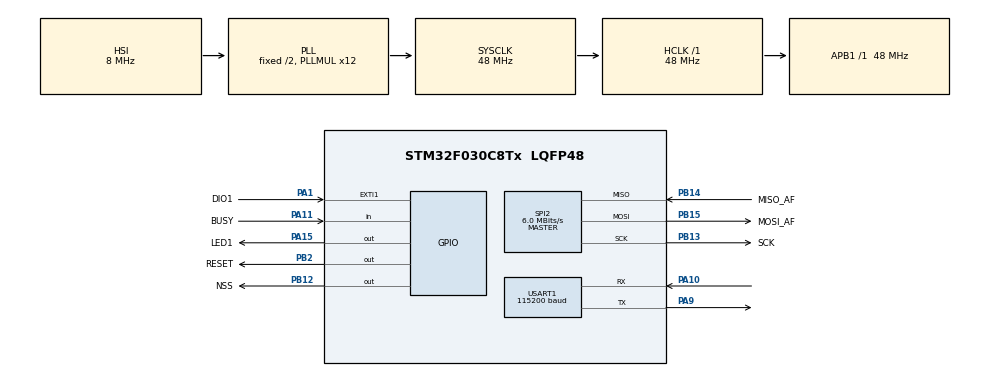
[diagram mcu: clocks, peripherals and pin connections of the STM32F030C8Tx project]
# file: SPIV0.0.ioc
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Mcu.Family=STM32F0
Mcu.Name=STM32F030C8Tx
Mcu.Package=LQFP48
NVIC.EXTI0_1_IRQn=true\:0\:0\:false\:false\:true\:true\:true
NVIC.TIM6_IRQn=true\:1\:0\:true\:false\:true\:true\:true
NVIC.USART1_IRQn=true\:0\:0\:false\:false\:true\:true\:true
PA1.GPIO_Label=DIO1
PA1.GPIO_ModeDefaultEXTI=GPIO_MODE_IT_RISING
PA1.GPIO_PuPd=GPIO_PULLUP
PA1.Signal=GPXTI1
PA10.GPIO_PuPd=GPIO_NOPULL
PA10.Mode=Asynchronous
PA10.Signal=USART1_RX
PA11.GPIO_Label=BUSY
PA11.GPIO_PuPd=GPIO_PULLUP
PA11.Signal=GPIO_Input
PA13.Mode=Serial_Wire
PA13.Signal=SYS_SWDIO
PA14.Mode=Serial_Wire
PA14.Signal=SYS_SWCLK
PA15.GPIO_Label=LED1
PA15.GPIO_Speed=GPIO_SPEED_FREQ_MEDIUM
PA15.PinState=GPIO_PIN_SET
PA15.Signal=GPIO_Output
PA9.GPIO_PuPd=GPIO_NOPULL
PA9.Mode=Asynchronous
PA9.Signal=USART1_TX
PB12.GPIO_Label=NSS
PB12.GPIO_ModeDefaultOutputPP=GPIO_MODE_OUTPUT_PP
PB12.GPIO_PuPd=GPIO_PULLUP
PB12.GPIO_Speed=GPIO_SPEED_FREQ_MEDIUM
PB12.PinState=GPIO_PIN_SET
PB12.Signal=GPIO_Output
PB13.GPIO_Label=SCK
PB13.GPIO_PuPd=GPIO_PULLUP
PB13.GPIO_Speed=GPIO_SPEED_FREQ_MEDIUM
PB13.Mode=Full_Duplex_Master
PB13.Signal=SPI2_SCK
PB14.GPIO_Label=MISO_AF
PB14.GPIO_PuPd=GPIO_PULLUP
PB14.GPIO_Speed=GPIO_SPEED_FREQ_MEDIUM
PB14.Mode=Full_Duplex_Master
PB14.Signal=SPI2_MISO
PB15.GPIO_Label=MOSI_AF
PB15.GPIO_PuPd=GPIO_PULLUP
PB15.GPIO_Speed=GPIO_SPEED_FREQ_MEDIUM
PB15.Mode=Full_Duplex_Master
PB15.Signal=SPI2_MOSI
PB2.GPIO_Label=RESET
PB2.GPIO_PuPd=GPIO_PULLUP
PB2.GPIO_Speed=GPIO_SPEED_FREQ_MEDIUM
PB2.PinState=GPIO_PIN_SET
PB2.Signal=GPIO_Output
ProjectManager.HeapSize=0x200
ProjectManager.StackSize=0x400
ProjectManager.TargetToolchain=EWARM V8
RCC.AHBFreq_Value=48000000
RCC.APB1Freq_Value=48000000
RCC.APB1TimFreq_Value=48000000
RCC.HCLKFreq_Value=48000000
RCC.PLLMUL=RCC_PLL_MUL12
RCC.SYSCLKFreq_VALUE=48000000
RCC.SYSCLKSource=RCC_SYSCLKSOURCE_PLLCLK
SPI2.BaudRatePrescaler=SPI_BAUDRATEPRESCALER_8
SPI2.CRCCalculation=SPI_CRCCALCULATION_ENABLE
SPI2.CRCLength=SPI_CRC_LENGTH_8BIT
SPI2.CalculateBaudRate=6.0 MBits/s
SPI2.DataSize=SPI_DATASIZE_8BIT
SPI2.Direction=SPI_DIRECTION_2LINES
SPI2.Mode=SPI_MODE_MASTER
SPI2.VirtualType=VM_MASTER
TIM6.AutoReloadPreload=TIM_AUTORELOAD_PRELOAD_DISABLE
TIM6.Period=1000
TIM6.Prescaler=240
USART1.BaudRate=115200
USART1.VirtualMode-Asynchronous=VM_ASYNC
VP_TIM6_VS_ClockSourceINT.Mode=Enable_Timer
board=custom

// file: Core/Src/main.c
/* USER CODE BEGIN Header */
/**
  ******************************************************************************
  * @file           : main.c
  * @brief          : Main program body
  ******************************************************************************
  * @attention
  *
  * <h2><center>&copy; Copyright (c) 2022 STMicroelectronics.
  * All rights reserved.</center></h2>
  *
  * This software component is licensed by ST under BSD 3-Clause license,
  * the "License"; You may not use this file except in compliance with the
  * License. You may obtain a copy of the License at:
  *                        opensource.org/licenses/BSD-3-Clause
  *
  ******************************************************************************
  */
/* USER CODE END Header */
#include "main.h"
#include "spi.h"
#include "tim.h"
#include "usart.h"
#include "gpio.h"

/* USER CODE BEGIN PD */
#define BUFFER_SIZE 8
#define RF_BL_ADV_CHANNEL_38                        2478000000 // Hz
#define RF_FREQUENCY                                RF_BL_ADV_CHANNEL_38 // Hz
#define TX_OUTPUT_POWER                             13
#define TX_TIMEOUT_VALUE                            1000 // ms

/* USER CODE END PD */

/* USER CODE BEGIN PM */
bool isMaster = false;//true 为发送 false 为接受
/* USER CODE END PM */

void SystemClock_Config(void);
/* USER CODE BEGIN PFP */
void OnTxDone( void );
void OnRxDone( void );
void OnTxTimeout( void );
void OnRxTimeout( void );
void OnRxError( IrqErrorCode_t );
/* USER CODE END PFP */

/* USER CODE BEGIN 0 */

RadioCallbacks_t Callbacks =
{
    &OnTxDone,        // txDone
    &OnRxDone,        // rxDone
    NULL,             // syncWordDone
    NULL,             // headerDone
    &OnTxTimeout,     // txTimeout
    &OnRxTimeout,     // rxTimeout
    &OnRxError,       // rxError
    NULL,             // rangingDone
    NULL,             // cadDone
};

uint8_t BufferSize = BUFFER_SIZE;

uint8_t Buffer[BUFFER_SIZE];
int8_t rssi=0;
uint8_t Tx_Msg[4],Rx_Msg[4];
uint16_t RxIrqMask = IRQ_RX_DONE | IRQ_RX_TX_TIMEOUT | IRQ_CRC_ERROR;
uint16_t TxIrqMask = IRQ_TX_DONE | IRQ_RX_TX_TIMEOUT | IRQ_CRC_ERROR;
AppStates_t AppState = APP_LOWPOWER;
PacketStatus_t packetStatus;

pkt_t pkt;
uint8_t mode=0;// 0 lora 1 GFSK 2 FLRC

/* USER CODE END 0 */

int main(void)
{

  /* MCU Configuration--------------------------------------------------------*/

  /* Reset of all peripherals, Initializes the Flash interface and the Systick. */
  HAL_Init();

  /* Configure the system clock */
  SystemClock_Config();

  /* Initialize all configured peripherals */

  MX_GPIO_Init();
  MX_SPI2_Init();
  MX_USART1_UART_Init();
  MX_TIM6_Init();

  /* USER CODE BEGIN 2 */
   Radio.Init( &Callbacks );
   Radio.SetRegulatorMode( USE_DCDC ); // Can also be set in LDO mode but consume more power
   memset( &Buffer, 0x00, BufferSize );
   FLRC_SetParams();
//   GFSK_SetParams();
//   LORA_SetParams();
   SX1280_Init();
  /* USER CODE END 2 */

  /* Infinite loop */

    if(isMaster==true)//send  mode
    {
      pkt.seq=0;
      Radio.SetDioIrqParams( TxIrqMask, TxIrqMask, IRQ_RADIO_NONE, IRQ_RADIO_NONE );
      Radio.SendPayload( (uint8_t*)&pkt, sizeof(pkt), ( TickTime_t ){ RX_TIMEOUT_TICK_SIZE, TX_TIMEOUT_VALUE } );
      AppState=APP_LOWPOWER;
      while(1)
      {
        SX1280ProcessIrqs( );

        switch( AppState )
        {
        case APP_TX:
          AppState=APP_LOWPOWER;
          pkt.addr=0x01;
          pkt.seq ++;
          Radio.SetDioIrqParams( TxIrqMask, TxIrqMask, IRQ_RADIO_NONE, IRQ_RADIO_NONE );
          Radio.SendPayload( (uint8_t*)&pkt, sizeof(pkt), ( TickTime_t ){ RX_TIMEOUT_TICK_SIZE, TX_TIMEOUT_VALUE } );
          HAL_GPIO_TogglePin(LED1_GPIO_Port,LED1_Pin);
          HAL_Delay(20);
          break;
        default:
          break;
        }

      }

    }
    else if(isMaster==false)//receive  mode
    {

      AppState=APP_LOWPOWER;
      Radio.SetDioIrqParams( RxIrqMask, RxIrqMask, IRQ_RADIO_NONE, IRQ_RADIO_NONE );
      Radio.SetRx( ( TickTime_t ) { RX_TIMEOUT_TICK_SIZE, RX_TIMEOUT_VALUE } );
      printf("start\n");
      while(1)
      {
        SX1280ProcessIrqs( );

        switch( AppState )
        {
        case APP_RX:
          AppState = APP_LOWPOWER;
          Radio.GetPayload( Buffer, &BufferSize, BUFFER_SIZE );//接收的数据装载到buffer
          SX1280GetPacketStatus(&packetStatus);
          rssi = SX1280GetRssiInst();
          printf("%d--Rssi:%d\n", Buffer[1],rssi);

          Radio.SetDioIrqParams( RxIrqMask, RxIrqMask, IRQ_RADIO_NONE, IRQ_RADIO_NONE );
          Radio.SetRx( ( TickTime_t ) { RX_TIMEOUT_TICK_SIZE, RX_TIMEOUT_VALUE } );
          HAL_GPIO_TogglePin(LED1_GPIO_Port,LED1_Pin);
          break;
        case APP_RX_TIMEOUT:
        case APP_RX_ERROR:
          Radio.SetDioIrqParams( RxIrqMask, RxIrqMask, IRQ_RADIO_NONE, IRQ_RADIO_NONE );
          Radio.SetRx( ( TickTime_t ) { RX_TIMEOUT_TICK_SIZE, RX_TIMEOUT_VALUE } );
          break;
        default:
          break;
        }
      }

    }

}

void SystemClock_Config(void)
{
  RCC_OscInitTypeDef RCC_OscInitStruct = {0};
  RCC_ClkInitTypeDef RCC_ClkInitStruct = {0};
  RCC_PeriphCLKInitTypeDef PeriphClkInit = {0};

  /** Initializes the RCC Oscillators according to the specified parameters
  * in the RCC_OscInitTypeDef structure.
  */
  RCC_OscInitStruct.OscillatorType = RCC_OSCILLATORTYPE_HSI;
  RCC_OscInitStruct.HSIState = RCC_HSI_ON;
  RCC_OscInitStruct.HSICalibrationValue = RCC_HSICALIBRATION_DEFAULT;
  RCC_OscInitStruct.PLL.PLLState = RCC_PLL_ON;
  RCC_OscInitStruct.PLL.PLLSource = RCC_PLLSOURCE_HSI;
  RCC_OscInitStruct.PLL.PLLMUL = RCC_PLL_MUL12;
  RCC_OscInitStruct.PLL.PREDIV = RCC_PREDIV_DIV1;
  if (HAL_RCC_OscConfig(&RCC_OscInitStruct) != HAL_OK)
  {
    Error_Handler();
  }
  /** Initializes the CPU, AHB and APB buses clocks
  */
  RCC_ClkInitStruct.ClockType = RCC_CLOCKTYPE_HCLK|RCC_CLOCKTYPE_SYSCLK
                              |RCC_CLOCKTYPE_PCLK1;
  RCC_ClkInitStruct.SYSCLKSource = RCC_SYSCLKSOURCE_PLLCLK;
  RCC_ClkInitStruct.AHBCLKDivider = RCC_SYSCLK_DIV1;
  RCC_ClkInitStruct.APB1CLKDivider = RCC_HCLK_DIV1;

  if (HAL_RCC_ClockConfig(&RCC_ClkInitStruct, FLASH_LATENCY_1) != HAL_OK)
  {
    Error_Handler();
  }
  PeriphClkInit.PeriphClockSelection = RCC_PERIPHCLK_USART1;
  PeriphClkInit.Usart1ClockSelection = RCC_USART1CLKSOURCE_PCLK1;
  if (HAL_RCCEx_PeriphCLKConfig(&PeriphClkInit) != HAL_OK)
  {
    Error_Handler();
  }
}

/* USER CODE BEGIN 4 */
void HAL_TIM_PeriodElapsedCallback(TIM_HandleTypeDef *htim)
{
  if(htim->Instance==TIM6)
  {

//    if(isMaster==true)
//    {
//      mode++;
//      if(mode>=3)mode=0;
//      if(mode==0) LORA_SetParams();
//      else if(mode==1) GFSK_SetParams();
//      else if(mode==2) FLRC_SetParams();
//
//      SX1280SetPacketType(modulationParams.PacketType);
//      SX1280SetModulationParams(&modulationParams);
//      SX1280SetPacketParams(&packetParams);
//
//
//      Radio.SetDioIrqParams( TxIrqMask, TxIrqMask, IRQ_RADIO_NONE, IRQ_RADIO_NONE );
//      Radio.SendPayload( (uint8_t*)&pkt, sizeof(pkt), ( TickTime_t ){ RX_TIMEOUT_TICK_SIZE, TX_TIMEOUT_VALUE } );
//    }
  }

}
void HAL_GPIO_EXTI_Callback(uint16_t GPIO_Pin)
{
  if (GPIO_Pin == DIO1_Pin)
  {
    SX1280OnDioIrq();

  }

}
void OnTxDone( void )
{
  TickCounter=0;
  AppState = APP_TX;
}

void OnRxDone( void )
{
    TickCounter=0;
    AppState = APP_RX;
}

void OnTxTimeout( void )
{
    TickCounter=0;
    AppState = APP_TX_TIMEOUT;

}

void OnRxTimeout( void )
{
    TickCounter=0;
    AppState = APP_RX_TIMEOUT;
}

void OnRxError( IrqErrorCode_t errorCode )
{
    TickCounter=0;
    AppState = APP_RX_ERROR;
}
int fputc(int ch, FILE *f) {
  HAL_UART_Transmit(&huart1,(uint8_t *)&ch,1,0xffff);
  return ch;
}
/* USER CODE END 4 */

void Error_Handler(void)
{
  __disable_irq();
  while (1)
  {
  }
}

/************************ (C) COPYRIGHT STMicroelectronics *****END OF FILE****/
